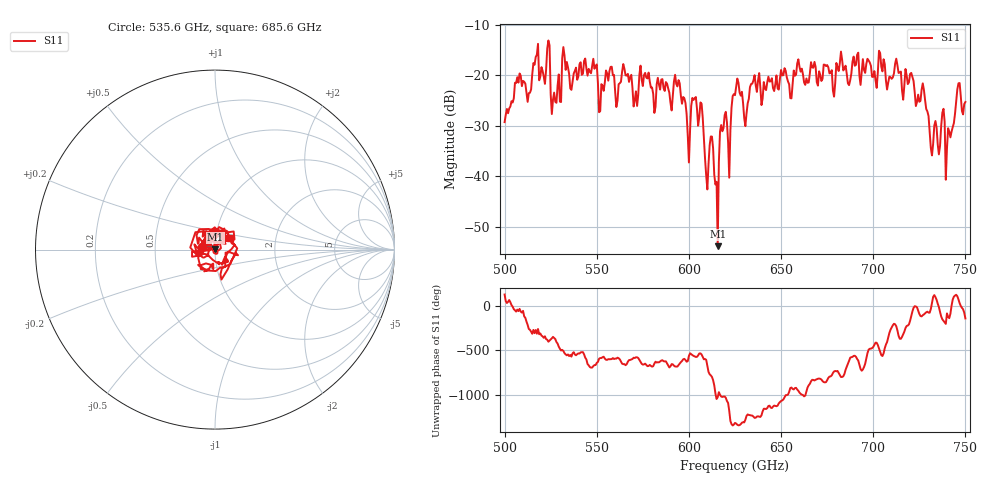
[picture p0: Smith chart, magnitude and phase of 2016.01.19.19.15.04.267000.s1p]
!Created with skrf (http://scikit-rf.org).
# GHz S RI R 50.0
!freq ReS11 ImS11
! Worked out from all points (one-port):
!   401 points, 500 GHz to 750 GHz, reference 50 ohm
!   lowest |S11| = -53.8 dB at 615.6 GHz (marker M1), VSWR 1.00, Z = 50.1 + j0.17 ohm
!   |S11| at or under -10 dB: start of sweep to end of sweep
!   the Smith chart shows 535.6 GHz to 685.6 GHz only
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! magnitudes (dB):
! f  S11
! 500 GHz  -29.3
! 507.5 GHz  -21.5
! 513.1 GHz  -23.6
! 516.9 GHz  -16.4
! 523.8 GHz  -13.1
! 526.9 GHz  -23.5
! 531.2 GHz  -16.6
! 562.5 GHz  -21.6
! 593.8 GHz  -22.2
! 599.4 GHz  -31.9
! 602.5 GHz  -24.9
! 606.9 GHz  -25.6
! 609.4 GHz  -39.9
! 611.9 GHz  -32.1
! 615.6 GHz  -53.8
! 618.1 GHz  -31.1
! 621.9 GHz  -40.3
! 625 GHz  -24.0
! 630.6 GHz  -30.1
! 634.4 GHz  -21.7
! 656.2 GHz  -21.8
! 687.5 GHz  -21.0
! 718.8 GHz  -21.8
! 727.5 GHz  -22.9
! 731.9 GHz  -35.9
! 740.6 GHz  -30.5
! 746.2 GHz  -21.6
! 750 GHz  -25.3
